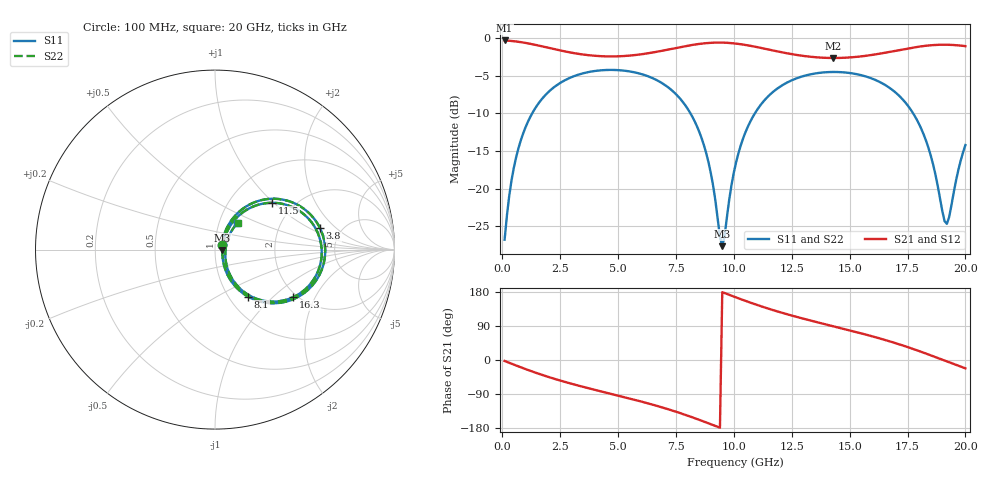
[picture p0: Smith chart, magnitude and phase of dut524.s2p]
! Touchstone file exported from HFSS 2026.1.0
!  File:  C:/ffzhzh/LocalFiles/Ansys_Project_Files/temp_train_TSV_RDL_524_1783110951_46604.aedt
!  Generated:  04:51:10 AM Jul  4, 2026
!  Design:  TSV_RDL
!  Project:  temp_train_TSV_RDL_524_1783110951_46604
! Variables:
!  h_bsmrdl = 4.71um
!  h_ox = 20um
!  h_rdl = 5um
!  h_sub = 52.66um
!  h_tmrdl = 5.09um
!  h_tsv = 52.66um
!  h_via = 3um
!  l_bsmrdl = 940.27um
!  l_sub = 6870.54um
!  l_tmrdl = 893.09um
!  m_sub = 200um
!  pitch = 39.72um
!  r_tsv = 5.08um
!  s_tmrdl = 10um
!  w_bsmrdl = 11.21um
!  w_sub = 500um
!  w_tmrdl = 14.58um
!  x_tsv_center1 = 900.38um
!  x_tsv_center2 = 1851.86um
!  x_tsv_center3 = 2759.53um
!  x_tsv_center4 = 3711.01um
!  x_tsv_center5 = 4618.68um
!  x_tsv_center6 = 5570.16um
# GHz S MA R 50.000000
! Terminal data exported
! Port[1] = TM_RDL1_1_T1
! Port[2] = TM_RDL5_1_T1
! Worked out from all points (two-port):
!   200 points, 100 MHz to 20 GHz, reference 50 ohm
!   highest |S21| = -0.33 dB at 100 MHz (marker M1); lowest = -2.7 dB at 14.3 GHz (marker M2)
!   |S21| within 3 dB of the highest: start of sweep to end of sweep
!   lowest |S11| = -27.6 dB at 9.5 GHz (marker M3), VSWR 1.09, Z = 54.3 - j0.194 ohm
!   |S11| at or under -10 dB: start of sweep to 1.291 GHz; 8.125 GHz to 10.91 GHz (2.783 GHz wide, 29.2 % of centre); 17.74 GHz to end of sweep
!   |S22| runs from -27.6 to -4.2 dB; largest |S21 - S12| = 1.6e-14
!   S11 on the Smith chart (normalised r, x): 100 MHz: 1.08, +0.06; 3.8 GHz: 3.46, +1.27; 8.1 GHz: 1.22, -0.72; 11.5 GHz: 1.56, +0.98; 16.3 GHz: 1.91, -1.37; 20 GHz: 1.22, +0.38
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0.1  0.04594 34.6  0.963 -2.5  0.963 -2.5  0.04594 34.6
! Gamma 0 0 0 0
! Port Impedance 50 0 50 0
0.5  0.1382 61.3  0.9521 -12.2  0.9521 -12.2  0.1382 61.3
1.1  0.2766 55.7  0.9219 -26.1  0.9219 -26.1  0.2766 55.7
2.2  0.467 36.7  0.8463 -48.7  0.8463 -48.7  0.467 36.7
3.5  0.5836 15.9  0.7763 -71.0  0.7763 -71.0  0.5836 15.9
3.8  0.5973 11.4  0.7667 -75.7  0.7667 -75.7  0.5973 11.4
5.3  0.6062 -10.1  0.76 -98.6  0.76 -98.6  0.6062 -10.1
6.8  0.5125 -33.0  0.8171 -123.2  0.8171 -123.2  0.5125 -33.0
8.1  0.3212 -54.8  0.8937 -148.9  0.8937 -148.9  0.3213 -54.8
8.9  0.151 -63.6  0.9268 -166.9  0.9268 -166.9  0.1511 -63.6
9.5  0.04158 -2.5  0.932 179.0  0.932 179.0  0.04162 -2.5
10.1  0.1504 57.4  0.9178 165.0  0.9178 165.0  0.1503 57.4
10.7  0.2768 52.0  0.8883 151.7  0.8883 151.7  0.2768 52.0
11.5  0.4126 39.2  0.8385 135.3  0.8385 135.3  0.4126 39.2
13.4  0.5776 10.1  0.7483 102.8  0.7483 102.8  0.5776 10.2
14.3  0.5951 -2.5  0.7367 89.0  0.7367 89.0  0.5951 -2.4
16.3  0.5108 -31.2  0.7869 57.0  0.7869 57.0  0.5108 -31.2
16.7  0.4698 -37.4  0.8072 49.8  0.8072 49.8  0.4698 -37.3
18.1  0.2487 -57.8  0.8806 21.4  0.8806 21.4  0.2487 -57.7
18.5  0.1668 -59.4  0.8946 12.4  0.8946 12.4  0.1668 -59.3
19.2  0.05848 0.1  0.9022 -3.7  0.9022 -3.7  0.05883 0.1
20  0.1947 49.9  0.8827 -22.0  0.8827 -22.0  0.1949 49.8
